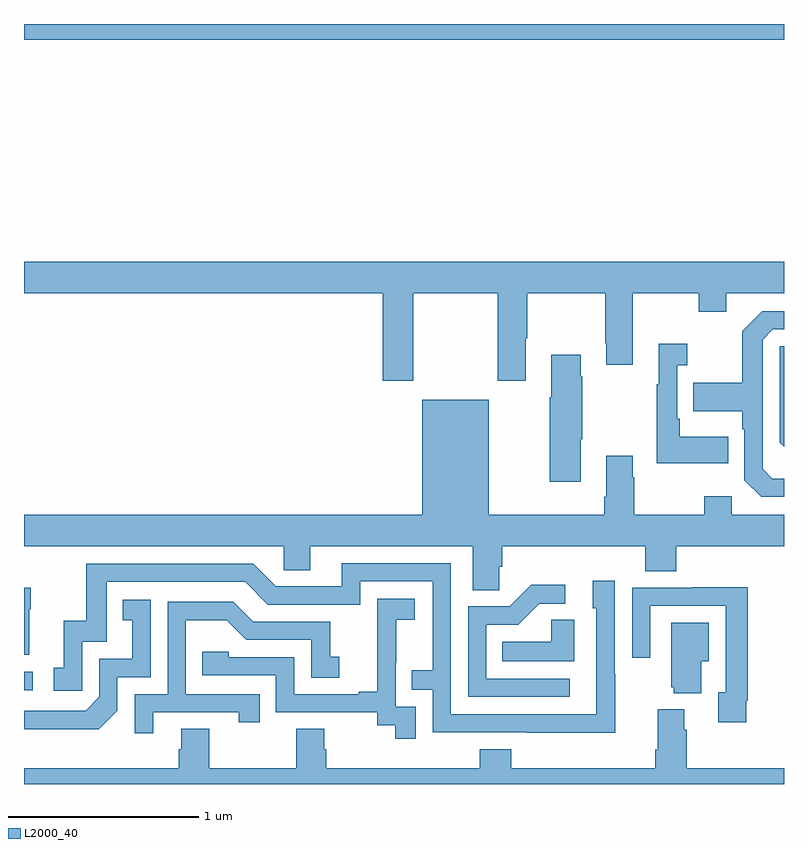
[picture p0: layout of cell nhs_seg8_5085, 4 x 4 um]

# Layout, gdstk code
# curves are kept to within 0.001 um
import gdstk
lib = gdstk.Library(unit=1e-6, precision=1e-09)
def R(c, l, rs):  # rectangles x0, y0, x1, y1
    for r in rs: c.add(gdstk.rectangle(r[:2], r[2:], *l))
def P(c, l, *ps):  # polygons
    for p in ps: c.add(gdstk.Polygon(p, *l))
L2000_40 = (2000, 40)

nhs_seg8_5085 = lib.new_cell('nhs_seg8_5085')
R(nhs_seg8_5085, L2000_40, [(417,1130.394,417.046,1130.49), (417,1133.816,421,1133.9)])
P(nhs_seg8_5085, L2000_40, [(417,1132.484),(418.889,1132.484),(418.889,1132.023),(419.049,1132.023),(419.049,1132.484),(419.494,1132.484),(419.494,1132.023),(419.641,1132.023),(419.641,1132.246),(419.649,1132.246),(419.649,1132.484),(420.058,1132.484),(420.058,1132.219),(420.065,1132.219),(420.065,1132.107),(420.205,1132.107),(420.205,1132.484),(420.55,1132.484),(420.55,1132.385),(420.697,1132.385),(420.697,1132.484),(421,1132.484),(421,1132.648),(417,1132.648)],
  [(421,1131.507),(420.939,1131.507),(420.888,1131.558),(420.888,1132.239),(420.942,1132.293),(421,1132.293),(421,1132.389),(420.885,1132.389),(420.78,1132.283),(420.78,1132.011),(420.523,1132.011),(420.523,1131.863),(420.78,1131.863),(420.78,1131.767),(420.792,1131.767),(420.792,1131.498),(420.879,1131.411),(421,1131.411)],
  [(420.707,1131.727),(420.451,1131.727),(420.451,1131.823),(420.438,1131.823),(420.438,1132.103),(420.49,1132.103),(420.49,1132.216),(420.341,1132.216),(420.341,1132.003),(420.33,1132.003),(420.33,1131.587),(420.707,1131.587)],
  [(421,1132.203),(420.978,1132.203),(420.978,1131.696),(421,1131.674)],
  [(419.929,1131.715),(419.937,1131.715),(419.937,1132.046),(419.929,1132.046),(419.929,1132.159),(419.774,1132.159),(419.774,1131.935),(419.767,1131.935),(419.767,1131.492),(419.929,1131.492)],
  [(419.502,1131.043),(419.516,1131.043),(419.516,1131.152),(420.269,1131.152),(420.269,1131.019),(420.434,1131.019),(420.434,1131.152),(421,1131.152),(421,1131.316),(420.726,1131.316),(420.726,1131.415),(420.58,1131.415),(420.58,1131.316),(420.213,1131.316),(420.213,1131.515),(420.205,1131.515),(420.205,1131.628),(420.065,1131.628),(420.065,1131.412),(420.053,1131.412),(420.053,1131.316),(419.446,1131.316),(419.446,1131.922),(419.096,1131.922),(419.096,1131.316),(417,1131.316),(417,1131.152),(418.368,1131.152),(418.368,1131.025),(418.507,1131.025),(418.507,1131.152),(419.363,1131.152),(419.363,1130.92),(419.502,1130.92)],
  [(420.111,1130.477),(420.108,1130.477),(420.108,1130.971),(419.993,1130.971),(419.993,1130.826),(420.012,1130.826),(420.012,1130.268),(419.247,1130.268),(419.247,1131.063),(418.673,1131.063),(418.673,1130.94),(418.326,1130.94),(418.206,1131.06),(417.327,1131.06),(417.327,1130.758),(417.209,1130.758),(417.209,1130.511),(417.156,1130.511),(417.156,1130.391),(417.306,1130.391),(417.306,1130.649),(417.435,1130.649),(417.435,1130.964),(418.164,1130.964),(418.284,1130.844),(418.77,1130.844),(418.77,1130.967),(419.151,1130.967),(419.151,1130.498),(419.041,1130.498),(419.041,1130.397),(419.151,1130.397),(419.151,1130.172),(420.111,1130.171)],
  [(419.872,1130.454),(419.433,1130.454),(419.433,1130.739),(419.602,1130.739),(419.713,1130.85),(419.848,1130.85),(419.848,1130.948),(419.669,1130.948),(419.556,1130.835),(419.337,1130.835),(419.337,1130.358),(419.872,1130.358)],
  [(420.802,1130.338),(420.809,1130.338),(420.809,1130.936),(420.517,1130.936),(420.517,1130.934),(420.201,1130.934),(420.201,1130.565),(420.297,1130.565),(420.297,1130.838),(420.693,1130.838),(420.693,1130.382),(420.653,1130.382),(420.653,1130.226),(420.802,1130.226)],
  [(417.028,1130.819),(417.036,1130.819),(417.036,1130.932),(417,1130.932),(417,1130.579),(417.028,1130.579)],
  [(419.061,1130.307),(418.956,1130.307),(418.956,1130.537),(418.958,1130.537),(418.958,1130.765),(419.056,1130.765),(419.056,1130.875),(418.858,1130.875),(418.858,1130.669),(418.859,1130.669),(418.859,1130.386),(418.763,1130.386),(418.763,1130.373),(418.422,1130.373),(418.422,1130.568),(418.077,1130.568),(418.077,1130.595),(417.937,1130.595),(417.937,1130.472),(418.326,1130.472),(418.326,1130.277),(418.86,1130.277),(418.86,1130.209),(418.953,1130.209),(418.953,1130.139),(419.061,1130.139)],
  [(417.492,1130.286),(417.492,1130.463),(417.666,1130.463),(417.666,1130.869),(417.52,1130.869),(417.52,1130.763),(417.569,1130.763),(417.569,1130.559),(417.396,1130.559),(417.396,1130.358),(417.324,1130.286),(417,1130.286),(417,1130.189),(417.394,1130.189)],
  [(417.679,1130.277),(418.13,1130.277),(418.13,1130.226),(418.241,1130.226),(418.241,1130.373),(417.852,1130.373),(417.852,1130.762),(418.066,1130.762),(418.17,1130.658),(418.512,1130.658),(418.512,1130.46),(418.66,1130.46),(418.66,1130.569),(418.611,1130.569),(418.611,1130.754),(418.207,1130.754),(418.102,1130.859),(417.756,1130.859),(417.756,1130.373),(417.582,1130.373),(417.582,1130.166),(417.679,1130.166)],
  [(419.896,1130.765),(419.775,1130.765),(419.775,1130.65),(419.518,1130.65),(419.518,1130.546),(419.896,1130.546)],
  [(420.565,1130.546),(420.604,1130.546),(420.604,1130.749),(420.407,1130.749),(420.407,1130.409),(420.419,1130.409),(420.419,1130.378),(420.565,1130.378)],
  [(421,1129.984),(420.488,1129.984),(420.488,1130.186),(420.475,1130.186),(420.475,1130.293),(420.335,1130.293),(420.335,1130.08),(420.323,1130.08),(420.323,1129.984),(419.564,1129.984),(419.564,1130.083),(419.399,1130.083),(419.399,1129.984),(418.592,1129.984),(418.592,1130.082),(418.579,1130.082),(418.579,1130.192),(418.432,1130.192),(418.432,1129.984),(417.975,1129.984),(417.975,1130.192),(417.827,1130.192),(417.827,1130.082),(417.815,1130.082),(417.815,1129.984),(417,1129.984),(417,1129.9),(421,1129.9)])

lib.write_gds('nhs_seg8_5085.gds')
